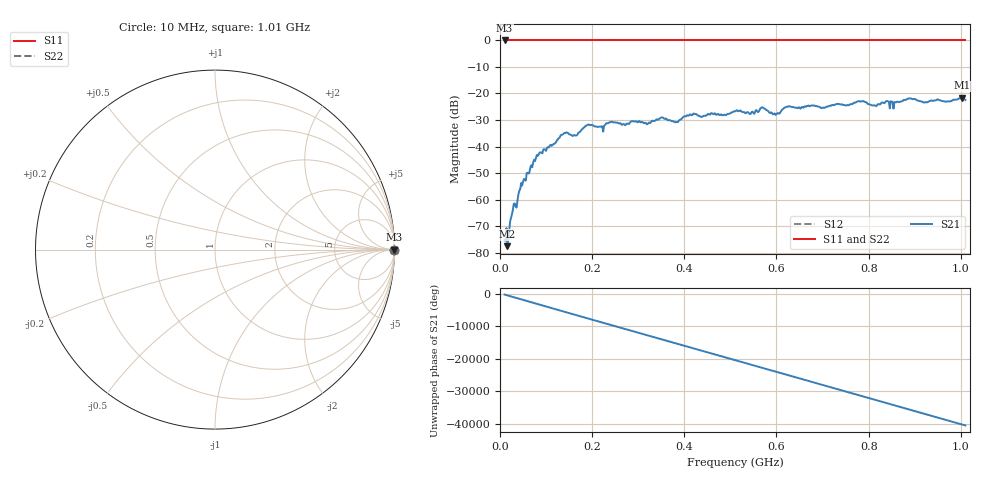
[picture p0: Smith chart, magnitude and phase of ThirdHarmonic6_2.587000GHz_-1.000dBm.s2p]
! 8/17/2025 5:31:05 AM
! C:\ANRITSUVNA\TEMP\TEMP.S2P
! CHANNEL.1
! TR.MEASUREMENT
! RAW.DATA
! RF.CORRECTION.OFF
! AVERAGING.OFF
! IF.BANDWIDTH: 5KHZ
! SWEEPTYPE:  FREQ.SWEEP(Linear)
! Reference Plane Port Info
! PORT:  PORT1  PORT2
! DISTANCE:  0  m  0  m
! TIME:  0  s  0  s
! PHASE.OFFSET:  0  deg.  0  deg.
! LOSS:  0  dB  0  dB
! REF.LOSS:  0  dB  0  dB
! REF.FREQ:  0  Hz  0  Hz
! Power Info
! POWER:  -20  dBm  -20  dBm
! EFF.POWER:  -20  dBm  -20  dBm
! SOURCE.ATTEN:  0  dB  0  dB
! TEST.ATTEN:  0  dB  0  dB
# GHZ S RI R 50.0
! FREQ.GHZ  S11RE  S11IM  S21RE  S21IM  S12RE  S12IM  S22RE  S22IM
!; PortSelection: Port_12
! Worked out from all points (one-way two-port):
!   501 points, 10 MHz to 1.01 GHz, reference 50 ohm
!   highest |S21| = -21.62 dB at 1.002 GHz (marker M1); lowest = -77.6 dB at 16 MHz (marker M2)
!   lowest |S11| = 0.0 dB at 10 MHz (marker M3)
!   |S11| at or under -10 dB: nowhere
!   |S22| runs from 0.0 to 0.0 dB; largest |S21 - S12| = 1.1
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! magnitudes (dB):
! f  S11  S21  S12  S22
! 10 MHz  0.0  -75.4  0.0  0.0
! 16 MHz  0.0  -77.6  0.0  0.0
! 28 MHz  0.0  -63.8  0.0  0.0
! 46 MHz  0.0  -53.7  0.0  0.0
! 82 MHz  0.0  -43.5  0.0  0.0
! 136 MHz  0.0  -35.5  0.0  0.0
! 162 MHz  0.0  -35.8  0.0  0.0
! 178 MHz  0.0  -33.5  0.0  0.0
! 192 MHz  0.0  -31.8  0.0  0.0
! 220 MHz  0.0  -32.4  0.0  0.0
! 344 MHz  0.0  -29.9  0.0  0.0
! 382 MHz  0.0  -30.7  0.0  0.0
! 416 MHz  0.0  -28.2  0.0  0.0
! 510 MHz  0.0  -26.8  0.0  0.0
! 548 MHz  0.0  -26.8  0.0  0.0
! 570 MHz  0.0  -25.2  0.0  0.0
! 596 MHz  0.0  -27.5  0.0  0.0
! 624 MHz  0.0  -25.0  0.0  0.0
! 678 MHz  0.0  -24.5  0.0  0.0
! 844 MHz  0.0  -23.1  0.0  0.0
! 1.002 GHz  0.0  -21.6  0.0  0.0
! 1.01 GHz  0.0  -22.4  0.0  0.0
